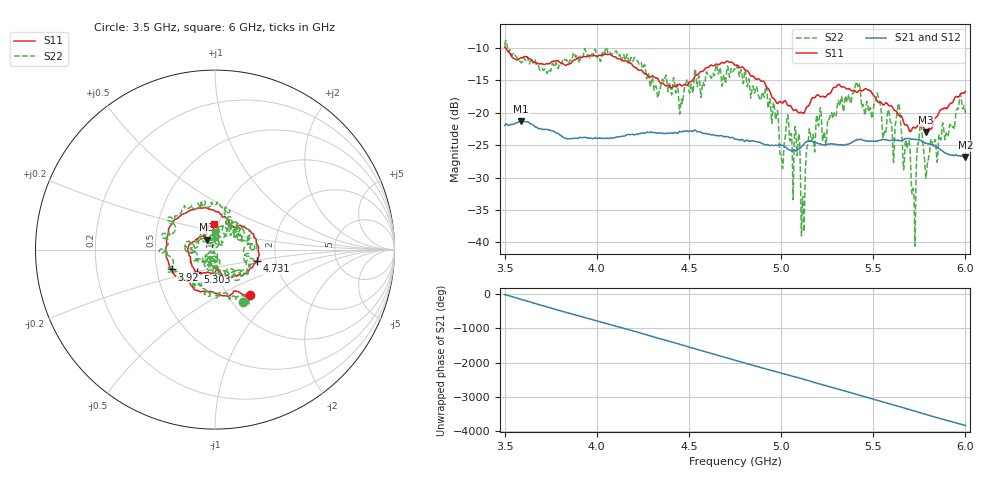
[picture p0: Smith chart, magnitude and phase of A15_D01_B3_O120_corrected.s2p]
! Created with skrf 1.9.0 (http://scikit-rf.org).
# Hz S RI R 50.0
!freq ReS11 ImS11 ReS21 ImS21 ReS12 ImS12 ReS22 ImS22
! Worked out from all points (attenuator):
!   1601 points, 3.5 GHz to 6 GHz, reference 50 ohm
!   highest |S21| = -21.33 dB at 3.591 GHz (marker M1); lowest = -26.9 dB at 6 GHz (marker M2)
!   lowest |S11| = -23.0 dB at 5.787 GHz (marker M3), VSWR 1.15, Z = 45.5 + j5 ohm
!   |S11| at or under -10 dB: 3.503 GHz to end of sweep
!   |S22| runs from -40.6 to -8.9 dB; largest |S21 - S12| = 0.0012
!   S11 on the Smith chart (normalised r, x): 3.5 GHz: 1.25, -0.71; 3.92 GHz: 0.60, -0.14; 4.731 GHz: 1.60, -0.22; 5.303 GHz: 0.80, -0.21; 6 GHz: 0.95, +0.28
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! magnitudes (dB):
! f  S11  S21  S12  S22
! 3.5 GHz  -9.9  -22.0  -22.0  -9.7
! 3.591 GHz  -11.6  -21.3  -21.3  -12.4
! 3.917 GHz  -11.5  -23.9  -23.9  -11.2
! 3.92 GHz  -11.5  -23.9  -23.9  -11.4
! 4.334 GHz  -15.0  -23.2  -23.1  -17.4
! 4.731 GHz  -12.2  -23.8  -23.8  -13.3
! 4.75 GHz  -12.7  -24.1  -24.0  -13.3
! 4.97 GHz  -18.3  -25.0  -25.0  -21.1
! 5.003 GHz  -18.5  -25.0  -25.1  -27.3
! 5.031 GHz  -18.7  -25.5  -25.4  -21.1
! 5.088 GHz  -19.8  -25.8  -25.8  -26.4
! 5.117 GHz  -20.1  -25.1  -25.1  -32.9
! 5.145 GHz  -19.0  -24.4  -24.4  -24.7
! 5.167 GHz  -17.8  -24.4  -24.4  -24.2
! 5.303 GHz  -15.9  -24.9  -24.9  -19.4
! 5.416 GHz  -16.8  -24.2  -24.2  -16.0
! 5.584 GHz  -18.9  -24.3  -24.3  -19.7
! 5.641 GHz  -20.5  -24.4  -24.3  -18.9
! 5.719 GHz  -22.3  -24.1  -24.1  -32.0
! 5.752 GHz  -22.1  -24.2  -24.2  -22.6
! 5.787 GHz  -23.0  -24.8  -24.7  -29.9
! 6 GHz  -16.7  -26.9  -26.8  -20.1
